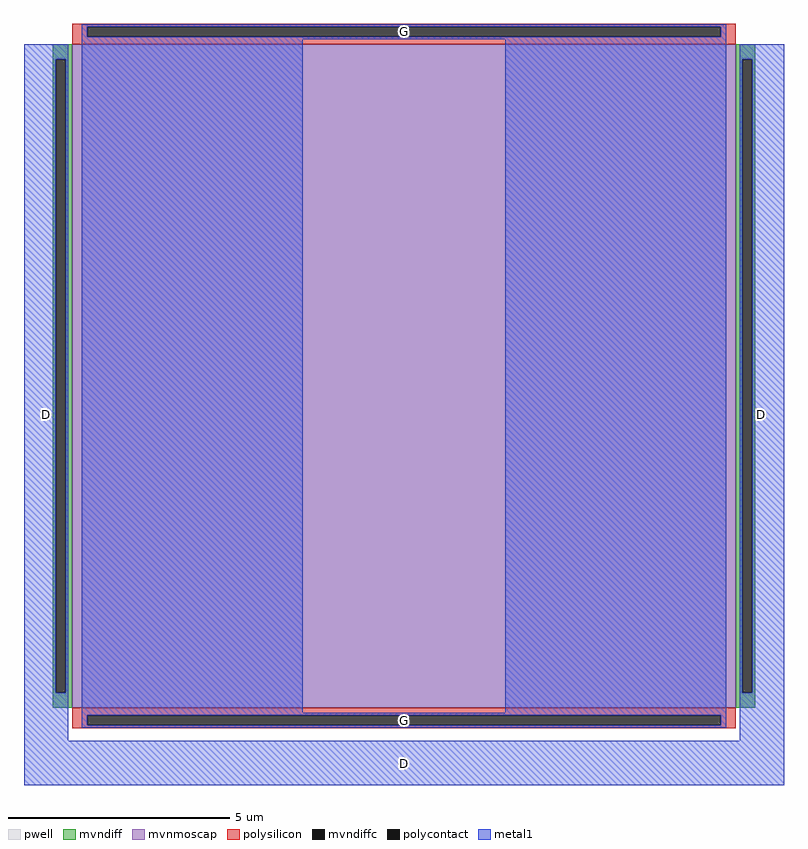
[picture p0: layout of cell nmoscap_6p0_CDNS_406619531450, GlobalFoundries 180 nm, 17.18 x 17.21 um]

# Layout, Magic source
magic
tech gf180mcuD
magscale 1 10
<< pwell >>
rect -88 0 3088 3000
<< mvndiff >>
rect -88 2933 0 3000
rect -88 67 -75 2933
rect -29 67 0 2933
rect -88 0 0 67
rect 3000 2933 3088 3000
rect 3000 67 3029 2933
rect 3075 67 3088 2933
rect 3000 0 3088 67
<< mvndiffc >>
rect -75 67 -29 2933
rect 3029 67 3075 2933
<< mvnmoscap >>
rect 0 0 3000 3000
<< polysilicon >>
rect 0 3079 3000 3092
rect 0 3033 67 3079
rect 2933 3033 3000 3079
rect 0 3000 3000 3033
rect 0 -33 3000 0
rect 0 -79 67 -33
rect 2933 -79 3000 -33
rect 0 -92 3000 -79
<< polycontact >>
rect 67 3033 2933 3079
rect 67 -79 2933 -33
<< metal1 >>
rect 42 3079 2958 3090
rect 42 3033 67 3079
rect 2933 3033 2958 3079
rect 42 3022 2958 3033
rect -218 2933 -18 3000
rect -218 67 -75 2933
rect -29 67 -18 2933
rect -218 -150 -18 67
rect 42 -22 1042 3022
rect 1958 -22 2958 3022
rect 42 -33 2958 -22
rect 42 -79 67 -33
rect 2933 -79 2958 -33
rect 42 -90 2958 -79
rect 3018 2933 3218 3000
rect 3018 67 3029 2933
rect 3075 67 3218 2933
rect 3018 -150 3218 67
rect -218 -350 3218 -150
<< labels >>
rlabel metal1 1500 -250 1500 -250 4 D
rlabel metal1 3118 1325 3118 1325 4 D
rlabel metal1 -118 1325 -118 1325 4 D
rlabel polycontact 1500 3056 1500 3056 4 G
rlabel polycontact 1500 -56 1500 -56 4 G
<< end >>
